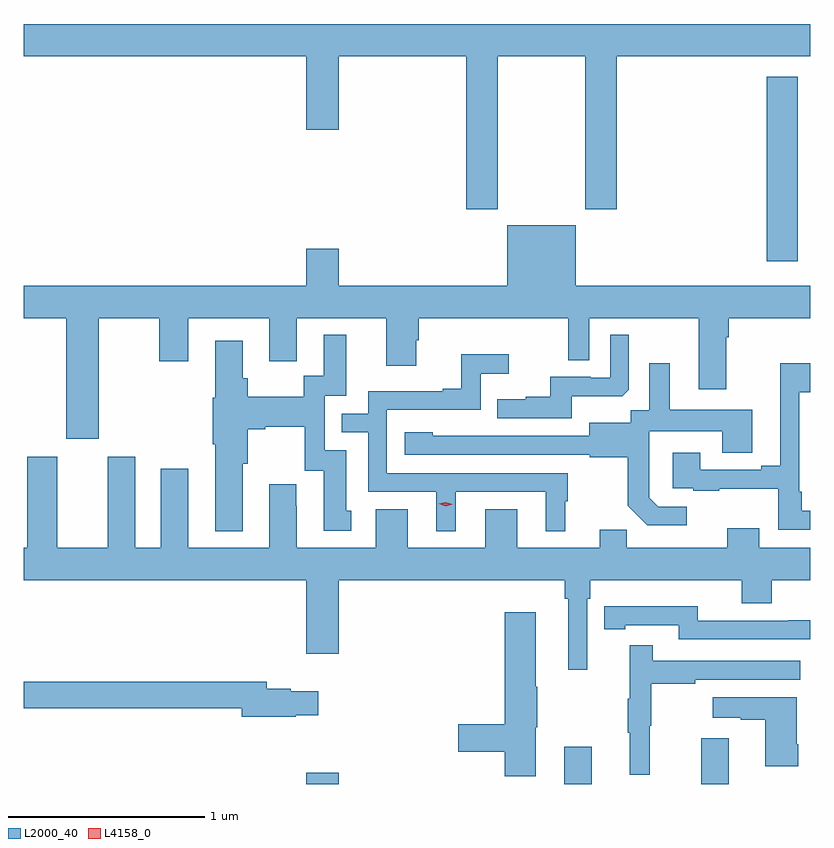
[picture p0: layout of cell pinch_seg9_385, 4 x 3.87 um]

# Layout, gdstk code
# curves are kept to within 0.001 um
import gdstk
lib = gdstk.Library(unit=1e-6, precision=1e-09)
def R(c, l, rs):  # rectangles x0, y0, x1, y1
    for r in rs: c.add(gdstk.rectangle(r[:2], r[2:], *l))
def P(c, l, *ps):  # polygons
    for p in ps: c.add(gdstk.Polygon(p, *l))
L2000_40 = (2000, 40)
L4158_0 = (4158, 0)

pinch_seg9_385 = lib.new_cell('pinch_seg9_385')
R(pinch_seg9_385, L2000_40, [(368.804,1238.007,368.968,1238.065), (370.115,1238.007,370.255,1238.197), (370.811,1238.007,370.951,1238.239), (371.144,1240.665,371.302,1241.605)])
P(pinch_seg9_385, L2000_40, [(367.366,1241.708),(368.804,1241.708),(368.804,1241.334),(368.968,1241.334),(368.968,1241.708),(369.617,1241.708),(369.617,1240.929),(369.777,1240.929),(369.777,1241.708),(370.222,1241.708),(370.222,1240.929),(370.382,1240.929),(370.382,1241.708),(371.366,1241.708),(371.366,1241.872),(367.366,1241.872)],
  [(367.747,1240.376),(368.056,1240.376),(368.056,1240.158),(368.203,1240.158),(368.203,1240.376),(368.615,1240.376),(368.615,1240.158),(368.755,1240.158),(368.755,1240.376),(369.209,1240.376),(369.209,1240.134),(369.361,1240.134),(369.361,1240.263),(369.374,1240.263),(369.374,1240.376),(370.134,1240.376),(370.134,1240.162),(370.242,1240.162),(370.242,1240.376),(370.799,1240.376),(370.799,1240.014),(370.939,1240.014),(370.939,1240.28),(370.952,1240.28),(370.952,1240.376),(371.366,1240.376),(371.366,1240.54),(370.174,1240.54),(370.174,1240.849),(369.824,1240.849),(369.824,1240.54),(368.968,1240.54),(368.968,1240.729),(368.804,1240.729),(368.804,1240.54),(367.366,1240.54),(367.366,1240.376),(367.583,1240.376),(367.583,1239.762),(367.747,1239.762)],
  [(370.153,1239.98),(370.411,1239.98),(370.443,1240.011),(370.443,1240.291),(370.35,1240.291),(370.35,1240.074),(370.25,1240.074),(370.25,1240.077),(370.043,1240.077),(370.043,1239.976),(369.919,1239.976),(369.919,1239.964),(369.775,1239.964),(369.775,1239.867),(370.153,1239.867)],
  [(368.479,1239.635),(368.505,1239.635),(368.505,1239.812),(368.593,1239.812),(368.593,1239.824),(368.795,1239.824),(368.795,1239.6),(368.891,1239.6),(368.891,1239.294),(369.031,1239.294),(369.031,1239.396),(369.007,1239.396),(369.007,1239.705),(368.898,1239.705),(368.898,1239.981),(369.007,1239.981),(369.007,1240.291),(368.891,1240.291),(368.891,1240.082),(368.79,1240.082),(368.79,1239.976),(368.505,1239.976),(368.505,1240.071),(368.479,1240.071),(368.479,1240.261),(368.339,1240.261),(368.339,1239.972),(368.327,1239.972),(368.327,1239.735),(368.339,1239.735),(368.339,1239.293),(368.479,1239.293)],
  [(369.562,1239.492),(370.022,1239.492),(370.022,1239.293),(370.12,1239.293),(370.12,1239.444),(370.132,1239.444),(370.132,1239.588),(369.213,1239.588),(369.213,1239.909),(369.69,1239.909),(369.69,1240.094),(369.832,1240.094),(369.832,1240.193),(369.592,1240.193),(369.592,1240.018),(369.497,1240.018),(369.497,1240.005),(369.117,1240.005),(369.117,1239.891),(368.983,1239.891),(368.983,1239.795),(369.117,1239.795),(369.117,1239.492),(369.464,1239.492),(369.464,1239.293),(369.562,1239.293)],
  [(371.366,1239.397),(371.323,1239.397),(371.323,1239.493),(371.31,1239.493),(371.31,1239.998),(371.366,1239.998),(371.366,1240.147),(371.213,1240.147),(371.213,1239.625),(371.117,1239.625),(371.117,1239.606),(370.807,1239.606),(370.807,1239.691),(370.667,1239.691),(370.667,1239.51),(370.771,1239.51),(370.771,1239.498),(370.903,1239.498),(370.903,1239.509),(371.202,1239.509),(371.202,1239.3),(371.366,1239.3)],
  [(370.738,1239.417),(370.593,1239.417),(370.546,1239.464),(370.546,1239.559),(370.548,1239.559),(370.548,1239.8),(370.919,1239.8),(370.919,1239.691),(371.071,1239.691),(371.071,1239.91),(370.651,1239.91),(370.651,1240.147),(370.547,1240.147),(370.547,1239.908),(370.452,1239.908),(370.452,1239.844),(370.241,1239.844),(370.241,1239.777),(369.447,1239.778),(369.447,1239.796),(369.303,1239.796),(369.303,1239.681),(370.245,1239.681),(370.245,1239.669),(370.437,1239.669),(370.437,1239.423),(370.537,1239.323),(370.738,1239.323)],
  [(370.233,1238.948),(370.247,1238.948),(370.247,1239.044),(371.018,1239.044),(371.018,1238.927),(371.171,1238.927),(371.171,1239.044),(371.366,1239.044),(371.366,1239.208),(371.107,1239.208),(371.107,1239.307),(370.943,1239.307),(370.943,1239.208),(370.433,1239.208),(370.433,1239.299),(370.295,1239.299),(370.295,1239.208),(369.877,1239.208),(369.877,1239.403),(369.713,1239.403),(369.713,1239.208),(369.319,1239.208),(369.319,1239.403),(369.155,1239.403),(369.155,1239.208),(368.755,1239.208),(368.755,1239.419),(368.752,1239.419),(368.752,1239.532),(368.615,1239.532),(368.615,1239.208),(368.203,1239.208),(368.203,1239.61),(368.063,1239.61),(368.063,1239.208),(367.933,1239.208),(367.933,1239.67),(367.793,1239.67),(367.793,1239.208),(367.537,1239.208),(367.537,1239.67),(367.385,1239.67),(367.385,1239.208),(367.366,1239.208),(367.366,1239.044),(368.804,1239.044),(368.804,1238.67),(368.968,1238.67),(368.968,1239.044),(370.117,1239.044),(370.117,1238.948),(370.136,1238.948),(370.136,1238.589),(370.233,1238.589)],
  [(371.366,1238.84),(371.254,1238.84),(371.254,1238.838),(370.794,1238.838),(370.794,1238.911),(370.426,1238.911),(370.426,1238.91),(370.318,1238.91),(370.318,1238.794),(370.426,1238.794),(370.426,1238.814),(370.698,1238.814),(370.698,1238.742),(371.366,1238.742)],
  [(369.97,1238.295),(369.978,1238.295),(369.978,1238.501),(369.97,1238.501),(369.97,1238.881),(369.812,1238.881),(369.812,1238.312),(369.576,1238.312),(369.576,1238.17),(369.812,1238.17),(369.812,1238.046),(369.97,1238.046)],
  [(370.55,1238.304),(370.558,1238.304),(370.558,1238.518),(370.781,1238.518),(370.781,1238.538),(371.314,1238.538),(371.314,1238.634),(370.565,1238.634),(370.565,1238.713),(370.448,1238.713),(370.448,1238.441),(370.437,1238.441),(370.437,1238.267),(370.448,1238.267),(370.448,1238.055),(370.55,1238.055)],
  [(368.75,1238.357),(368.863,1238.357),(368.863,1238.479),(368.724,1238.479),(368.724,1238.492),(368.602,1238.492),(368.602,1238.528),(367.366,1238.528),(367.366,1238.392),(368.474,1238.392),(368.474,1238.35),(368.75,1238.35)],
  [(371.304,1238.209),(371.296,1238.209),(371.296,1238.449),(370.869,1238.449),(370.869,1238.345),(371.012,1238.345),(371.012,1238.335),(371.138,1238.335),(371.138,1238.097),(371.304,1238.097)])
P(pinch_seg9_385, L4158_0, [(369.513,1239.42),(369.477,1239.431),(369.477,1239.431),(369.477,1239.431),(369.513,1239.44),(369.549,1239.429),(369.549,1239.429),(369.549,1239.429)])

lib.write_gds('pinch_seg9_385.gds')
